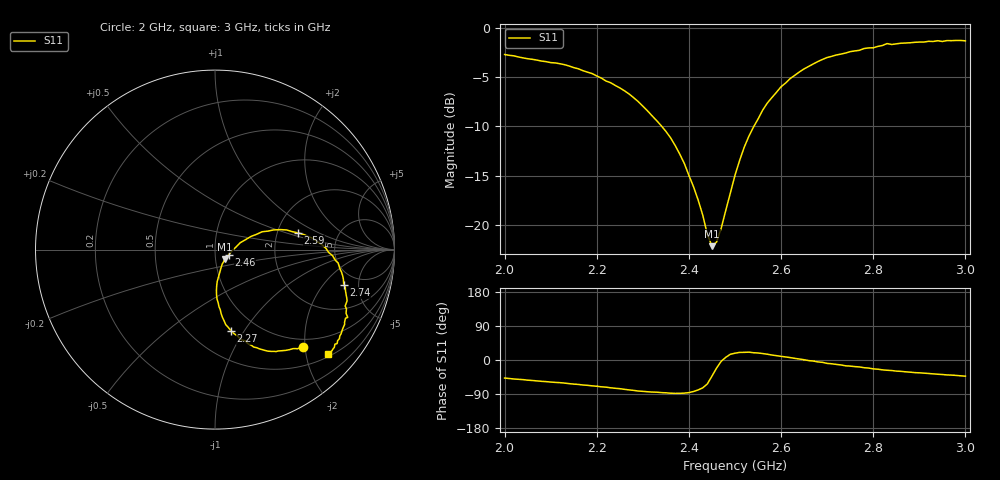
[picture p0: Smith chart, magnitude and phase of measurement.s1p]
# HZ S RI R 50
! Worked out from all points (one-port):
!   101 points, 2 GHz to 3 GHz, reference 50 ohm
!   lowest |S11| = -22.2 dB at 2.45 GHz (marker M1), VSWR 1.17, Z = 55.8 - j5.91 ohm
!   |S11| at or under -10 dB: 2.341 GHz to 2.541 GHz (200.3 MHz wide, 8.21 % of centre)
!   S11 on the Smith chart (normalised r, x): 2 GHz: 0.85, -1.96; 2.27 GHz: 0.76, -0.87; 2.46 GHz: 1.16, -0.07; 2.59 GHz: 2.60, +0.62; 2.74 GHz: 3.77, -3.31; 3 GHz: 0.56, -2.45
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2e9  0.4919 -0.5404
2.13e9  0.3153 -0.5672
2.19e9  0.2162 -0.5433
2.25e9  0.1226 -0.4794
2.27e9  0.0892 -0.4525
2.34e9  0.0219 -0.3172
2.36e9  0.0116 -0.2765
2.38e9  0.00795 -0.2285
2.41e9  0.0188 -0.1548
2.43e9  0.0319 -0.1074
2.44e9  0.0405 -0.0797
2.45e9  0.0575 -0.0526
2.46e9  0.0762 -0.0298
2.47e9  0.0958 -0.00577
2.5e9  0.1698 0.055
2.52e9  0.2323 0.0854
2.54e9  0.2954 0.1031
2.57e9  0.3993 0.1094
2.59e9  0.4607 0.0934
2.63e9  0.5722 0.0427
2.69e9  0.6861 -0.0744
2.7e9  0.697 -0.1098
2.74e9  0.7172 -0.1962
2.75e9  0.7258 -0.2099
2.77e9  0.7288 -0.241
2.83e9  0.7395 -0.3776
2.88e9  0.7098 -0.4456
3e9  0.6303 -0.581
